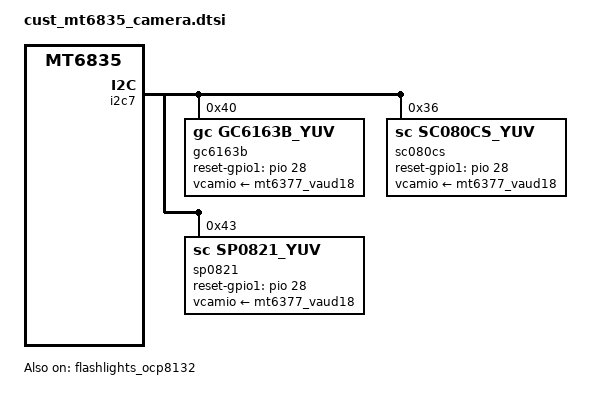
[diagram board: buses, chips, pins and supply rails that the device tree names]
// SPDX-License-Identifier: GPL-2.0
/* Copyright (c) 2020 MediaTek Inc. */
/* CAMERA GPIO standardization */


#include "mediatek/cust_mt6835_camera_common.dtsi"
&kd_camera_hw1 {
	cust-sensor = "s5kjns_truly_main_i_mipi_raw imx852_ofilm_main_ii_mipi_raw gc50f6_txd_main_iii_mipi_raw sc1320cs_truly_main_i_mipi_raw gc13a0_ofilm_main_ii_mipi_raw sc520_truly_front_i_mipi_raw gc05a2_cxt_front_ii_mipi_raw sc820cs_truly_front_i_mipi_raw ov08f_ofilm_front_ii_mipi_raw gc08a8_cxt_front_iii_mipi_raw";
};

/* 20230629 longcheer zhangfeng5 add flashlight node. begin */
&pio {
	flashlight_pins_default: flashlightdefault {
	};
	flashlight_pins_en_output1: flashlightenoutput1 {
		pins_cmd_dat {
			pinmux = <PINMUX_GPIO34__FUNC_GPIO34>;
			slew-rate = <1>;
			output-high;
		};
	};
	flashlight_pins_en_output0: flashlightenoutput0 {
		pins_cmd_dat {
			pinmux = <PINMUX_GPIO34__FUNC_GPIO34>;
			slew-rate = <1>;
			output-low;
		};
	};
	flashlight_pins_sel_output1: flashlightseloutput1 {
		pins_cmd_dat {
			pinmux = <PINMUX_GPIO35__FUNC_GPIO35>;
			slew-rate = <1>;
			output-high;
		};
	};
	flashlight_pins_sel_output0: flashlightseloutput0 {
		pins_cmd_dat {
			pinmux = <PINMUX_GPIO35__FUNC_GPIO35>;
			slew-rate = <1>;
			output-low;
		};
	};
};
&flashlights_ocp8132 {
	pinctrl-names = "default", "hw_ch0_high",
		"hw_ch0_low", "hw_ch1_high",
		"hw_ch1_low";
	pinctrl-0 = <&flashlight_pins_default>;
	pinctrl-1 = <&flashlight_pins_en_output1>;
	pinctrl-2 = <&flashlight_pins_en_output0>;
	pinctrl-3 = <&flashlight_pins_sel_output1>;
	pinctrl-4 = <&flashlight_pins_sel_output0>;
	status = "okay";
	decouple = <1>;
	channel@1 {
		type = <0>;
		ct = <0>;
		part = <0>;
	};
	channel@2 {
		type = <0>;
		ct = <1>;
		part = <0>;
	};
};
/* 20230629 longcheer zhangfeng5 add flashlight node. end */

/* 20230620 longcheer zhangfeng5 add QVGA node. begin */
&pio{
        camera_pins_gc6163b_mclk_on: camera_pins_gc6163b_mclk_on {
                pins_cmd_dat {
                        pinmux = <PINMUX_GPIO91__FUNC_CMMCLK3>;
                };
        };
        camera_pins_gc6163b_mclk_off: camera_pins_gc6163b_mclk_off {
                pins_cmd_dat {
                        pinmux = <PINMUX_GPIO91__FUNC_GPIO91>;
                };
        };
        camera_pins_sc080cs_mclk_on: camera_pins_sc080cs_mclk_on {
                pins_cmd_dat {
                        pinmux = <PINMUX_GPIO91__FUNC_CMMCLK3>;
                };
        };
        camera_pins_sc080cs_mclk_off: camera_pins_sc080cs_mclk_off {
                pins_cmd_dat {
                        pinmux = <PINMUX_GPIO91__FUNC_GPIO91>;
                };
        };
		camera_pins_sp0821_mclk_on: camera_pins_sp0821_mclk_on {
                pins_cmd_dat {
                        pinmux = <PINMUX_GPIO91__FUNC_CMMCLK3>;
                };
        };
        camera_pins_sp0821_mclk_off: camera_pins_sp0821_mclk_off {
                pins_cmd_dat {
                        pinmux = <PINMUX_GPIO91__FUNC_GPIO91>;
                };
        };
};
&i2c7 {
        gc6163b@40 {
                compatible = "gc,gc6163b_yuv";
                reg = <0x40>;
                reset-gpio1 = <&pio 28 0x0>;
                pinctrl-names = "gc6163b_mclk_on",
                                "gc6163b_mclk_off";
                pinctrl-0 = <&camera_pins_gc6163b_mclk_on>;
                pinctrl-1 = <&camera_pins_gc6163b_mclk_off>;
                vcamio-supply = <&mt6377_vaud18>;
                status = "okay";
      };
        sc080cs@36 {
                compatible = "sc,sc080cs_yuv";
                reg = <0x36>;
                reset-gpio1 = <&pio 28 0x0>;
                pinctrl-names = "sc080cs_mclk_on",
                                "sc080cs_mclk_off";
                pinctrl-0 = <&camera_pins_sc080cs_mclk_on>;
                pinctrl-1 = <&camera_pins_sc080cs_mclk_off>;
                vcamio-supply = <&mt6377_vaud18>;
                status = "okay";
      };
	    sp0821@43 {
                compatible = "sc,sp0821_yuv";
                reg = <0x43>;
                reset-gpio1 = <&pio 28 0x0>;
                pinctrl-names = "sp0821_mclk_on",
                                "sp0821_mclk_off";
                pinctrl-0 = <&camera_pins_sp0821_mclk_on>;
                pinctrl-1 = <&camera_pins_sp0821_mclk_off>;
                vcamio-supply = <&mt6377_vaud18>;
                status = "okay";
      };
};
/* 20230620 longcheer zhangfeng5 add QVGA node. end */
